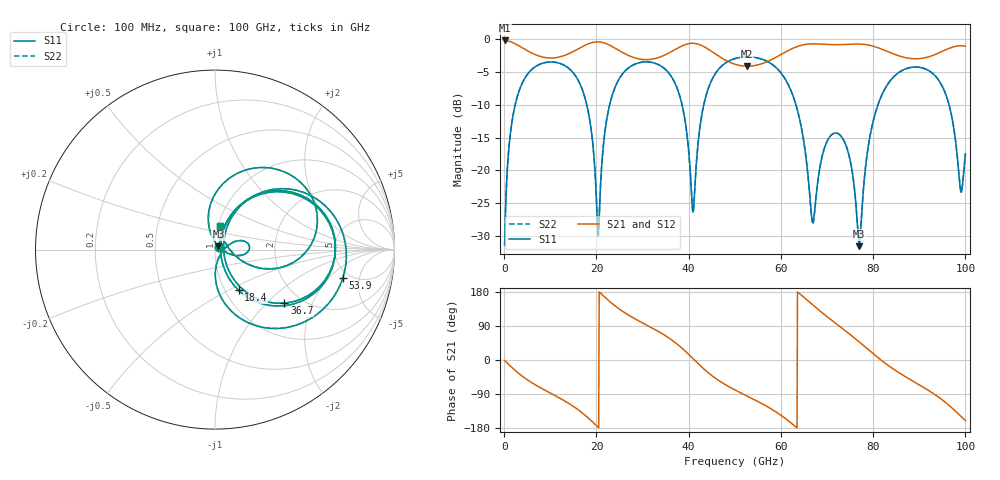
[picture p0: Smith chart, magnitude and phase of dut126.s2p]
! Touchstone file exported from HFSS 2026.1.0
!  File:  C:/ffzhzh/LocalFiles/Ansys_Project_Files/temp_train_TSV_RDL_126_1783638085_33328.aedt
!  Generated:  07:08:43 AM Jul 10, 2026
!  Design:  TSV_RDL
!  Project:  temp_train_TSV_RDL_126_1783638085_33328
! Variables:
!  h_bsmrdl = 3.96um
!  h_ox = 20um
!  h_rdl = 5um
!  h_sub = 66.89um
!  h_tmrdl = 2.21um
!  h_tsv = 66.89um
!  h_via = 3um
!  l_bsmrdl = 652.59um
!  l_sub = 2965.68um
!  l_tmrdl = 133.88um
!  m_sub = 200um
!  pitch = 53.88um
!  r_tsv = 7.65um
!  s_tmrdl = 10um
!  w_bsmrdl = 12.94um
!  w_sub = 500um
!  w_tmrdl = 11.19um
!  x_tsv_center1 = 139.475um
!  x_tsv_center2 = 805.005um
!  x_tsv_center3 = 950.075um
!  x_tsv_center4 = 1615.605um
!  x_tsv_center5 = 1760.675um
!  x_tsv_center6 = 2426.205um
# GHz S MA R 50.000000
! Terminal data exported
! Port[1] = TM_RDL1_1_T1
! Port[2] = TM_RDL5_1_T1
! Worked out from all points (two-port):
!   1000 points, 100 MHz to 100 GHz, reference 50 ohm
!   highest |S21| = -0.20 dB at 100 MHz (marker M1); lowest = -4.1 dB at 52.7 GHz (marker M2)
!   |S21| within 3 dB of the highest: start of sweep to 47.97 GHz; 57.74 GHz to end of sweep
!   lowest |S11| = -31.5 dB at 77 GHz (marker M3), VSWR 1.05, Z = 51.9 + j1.94 ohm
!   |S11| at or under -10 dB: 17.91 GHz to 22.87 GHz (4.953 GHz wide, 24.3 % of centre); 38.57 GHz to 43.28 GHz (4.71 GHz wide, 11.5 % of centre); 63.26 GHz to 81.04 GHz (17.78 GHz wide, 24.6 % of centre) (the widest 3 of 5)
!   |S22| runs from -31.4 to -2.7 dB; largest |S21 - S12| = 6.4e-13
!   S11 on the Smith chart (normalised r, x): 100 MHz: 1.05, +0.03; 18.4 GHz: 1.16, -0.56; 36.7 GHz: 1.64, -1.28; 53.9 GHz: 4.32, -2.94; 100 GHz: 1.02, +0.27
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0.1  0.02704 32.2  0.9773 -1.2  0.9773 -1.2  0.02704 32.2
! Gamma 0 0 0 0
! Port Impedance 50 0 50 0
1.6  0.2228 64.5  0.9492 -18.8  0.9492 -18.8  0.2228 64.5
4.4  0.4981 40.1  0.8407 -46.9  0.8407 -46.9  0.4981 40.1
10.6  0.6694 -2.3  0.7195 -91.1  0.7195 -91.1  0.6695 -2.3
16.8  0.4258 -46.5  0.8713 -138.4  0.8713 -138.4  0.4259 -46.5
18.4  0.2608 -59.9  0.9259 -154.9  0.9259 -154.9  0.2609 -60.0
20.4  0.03164 5.8  0.9533 -177.8  0.9533 -177.8  0.03074 5.7
24.1  0.4348 47.9  0.8514 142.3  0.8514 142.3  0.4345 48.0
33.4  0.6411 -14.1  0.7228 75.5  0.7228 75.5  0.641 -14.1
36.7  0.4883 -37.6  0.8198 49.6  0.8198 49.6  0.4881 -37.5
41  0.04841 10.3  0.9302 3.0  0.9302 3.0  0.04856 10.4
44  0.3952 52.1  0.8494 -31.1  0.8494 -31.1  0.3951 52.1
50.1  0.7125 9.1  0.6431 -79.4  0.6431 -79.4  0.7123 9.1
52.7  0.7335 -5.8  0.6223 -95.3  0.6223 -95.3  0.7333 -5.7
53.9  0.7295 -12.6  0.6261 -102.6  0.6261 -102.6  0.7293 -12.5
62.5  0.3803 -72.6  0.8489 -169.1  0.8489 -169.1  0.3799 -72.6
66.7  0.04334 -51.9  0.9208 147.2  0.9208 147.2  0.04217 -52.0
72.3  0.1915 1.0  0.9074 92.9  0.9074 92.9  0.1915 1.6
77  0.02652 44.7  0.9176 47.3  0.9176 47.3  0.0286 45.0
83.4  0.4668 70.2  0.7978 -15.5  0.7978 -15.5  0.4669 70.1
94.4  0.4755 -5.6  0.7897 -99.9  0.7897 -99.9  0.4755 -5.4
100  0.1339 79.1  0.8831 -159.9  0.8831 -159.9  0.1349 78.6
